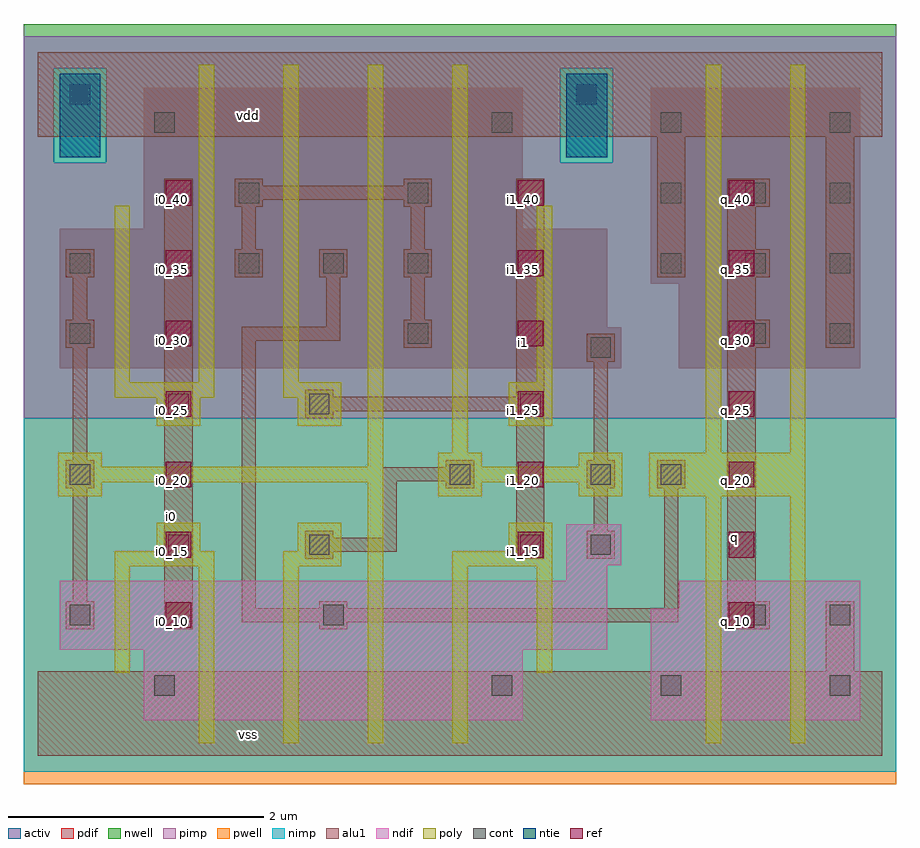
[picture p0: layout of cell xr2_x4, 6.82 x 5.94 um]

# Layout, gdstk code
import gdstk
lib = gdstk.Library(unit=1e-6, precision=2.5e-09)
def R(c, l, rs):  # rectangles x0, y0, x1, y1
    for r in rs: c.add(gdstk.rectangle(r[:2], r[2:], *l))
def A(c, l, x, y, w, h, nx, ny, dx, dy):  # array of equal rectangles
    R(c, l, [(x+i*dx, y+j*dy, x+i*dx+w, y+j*dy+h) for i in range(nx) for j in range(ny)])
ndif = (3, 0)
pdif = (4, 0)
ntie = (5, 0)
ref = (24, 0)
cont = (25, 0)
pwell = (41, 0)
nwell = (42, 0)
activ = (43, 0)
pimp = (44, 0)
nimp = (45, 0)
poly = (46, 0)
alu1 = (49, 0)

xr2_x4 = lib.new_cell('xr2_x4')
R(xr2_x4, ndif, [(0.83,0.28,3.79,0.83), (0.83,0.28,3.79,0.83), (4.79,0.28,6.43,1.15), (4.79,0.28,6.43,1.15), (0.17,0.83,4.45,1.37), (0.17,0.83,4.45,1.37), (5.01,1.15,6.43,1.37), (5.01,1.15,6.43,1.37), (4.13,1.37,4.45,1.49), (4.13,1.37,4.45,1.49), (4.13,1.49,4.56,1.81), (4.13,1.49,4.56,1.81)])
R(xr2_x4, pdif, [(0.17,3.03,4.56,3.35), (0.17,3.03,4.56,3.35), (5.01,3.03,6.43,3.69), (5.01,3.03,6.43,3.69), (0.17,3.35,4.45,4.12), (0.17,3.35,4.45,4.12), (4.79,3.69,6.43,5.22), (4.79,3.69,6.43,5.22), (0.83,4.12,3.79,5.22), (0.83,4.12,3.79,5.22)])
R(xr2_x4, ntie, [(0.17,4.68,0.49,5.33), (0.17,4.68,0.49,5.33), (4.13,4.68,4.45,5.33), (4.13,4.68,4.45,5.33)])
A(xr2_x4, ref, 1, 1, 0.2, 0.2, 1, 7, 0, 0.55)
A(xr2_x4, ref, 5.4, 1, 0.2, 0.2, 1, 7, 0, 0.55)
A(xr2_x4, ref, 3.75, 1.55, 0.2, 0.2, 1, 6, 0, 0.55)
A(xr2_x4, cont, 3.55, 0.47, 0.16, 0.16, 3, 2, 1.32, 4.4)
A(xr2_x4, cont, 0.25, 3.22, 0.16, 0.16, 3, 1, 2.64, 0)
A(xr2_x4, cont, 1.57, 3.77, 0.16, 0.16, 3, 1, 0.66, 0)
A(xr2_x4, cont, 4.87, 3.77, 0.16, 0.16, 3, 2, 0.66, 0.55)
R(xr2_x4, cont, [(0.91,0.47,1.07,0.63), (0.25,1.02,0.41,1.18), (2.23,1.02,2.39,1.18), (5.53,1.02,5.69,1.18), (6.19,1.02,6.35,1.18), (1.02,1.57,1.18,1.73), (2.12,1.57,2.28,1.73), (3.77,1.57,3.93,1.73), (4.32,1.57,4.48,1.73), (0.25,2.12,0.41,2.28), (3.22,2.12,3.38,2.28), (4.32,2.12,4.48,2.28), (4.87,2.12,5.03,2.28), (1.02,2.67,1.18,2.83), (2.12,2.67,2.28,2.83), (3.77,2.67,3.93,2.83), (4.32,3.11,4.48,3.27), (6.19,3.22,6.35,3.38), (0.25,3.77,0.41,3.93), (1.57,4.32,1.73,4.48), (2.89,4.32,3.05,4.48), (0.91,4.87,1.07,5.03), (0.25,5.09,0.41,5.25), (4.21,5.09,4.37,5.25)])
R(xr2_x4, pwell, [(-0.11,-0.22,6.71,2.64)])
R(xr2_x4, nwell, [(-0.11,2.64,6.71,5.72)])
R(xr2_x4, activ, [(0.83,0.28,3.79,0.83), (0.83,0.28,3.79,0.83), (4.79,0.28,6.43,1.15), (4.79,0.28,6.43,1.15), (0.17,0.83,4.45,1.37), (0.17,0.83,4.45,1.37), (5.01,1.15,6.43,1.37), (5.01,1.15,6.43,1.37), (4.13,1.37,4.45,1.49), (4.13,1.37,4.45,1.49), (4.13,1.49,4.56,1.81), (4.13,1.49,4.56,1.81), (0.17,3.03,4.56,3.35), (0.17,3.03,4.56,3.35), (5.01,3.03,6.43,3.69), (5.01,3.03,6.43,3.69), (0.17,3.35,4.45,4.12), (0.17,3.35,4.45,4.12), (4.79,3.69,6.43,5.22), (4.79,3.69,6.43,5.22), (0.83,4.12,3.79,5.22), (0.83,4.12,3.79,5.22), (0.17,4.68,0.49,5.33), (0.17,4.68,0.49,5.33), (4.13,4.68,4.45,5.33), (4.13,4.68,4.45,5.33)])
R(xr2_x4, pimp, [(-0.11,2.64,6.71,4.635), (-0.11,4.635,0.125,5.375), (0.535,4.635,4.085,5.375), (4.495,4.635,6.71,5.375), (-0.11,5.375,6.71,5.625)])
R(xr2_x4, nimp, [(-0.11,-0.125,6.71,2.64), (0.125,4.635,0.535,5.375), (4.085,4.635,4.495,5.375)])
R(xr2_x4, poly, [(1.26,0.1,1.38,1.48), (1.92,0.1,2.04,1.48), (2.58,0.1,2.7,2.14), (3.24,0.1,3.36,1.48), (5.22,0.1,5.34,2.03), (5.88,0.1,6,2.03), (0.6,0.65,0.72,1.48), (3.9,0.65,4.02,1.48), (0.6,1.48,1.38,1.6), (1.92,1.48,2.37,1.6), (3.24,1.48,4.02,1.6), (0.93,1.6,1.27,1.82), (2.03,1.6,2.37,1.82), (3.68,1.6,4.02,1.82), (0.16,2.03,0.5,2.14), (3.13,2.03,3.47,2.14), (4.23,2.03,4.57,2.14), (4.78,2.03,6,2.37), (0.16,2.14,2.7,2.26), (3.13,2.14,4.57,2.26), (0.16,2.26,0.5,2.37), (2.58,2.26,2.7,5.4), (3.13,2.26,3.47,2.37), (4.23,2.26,4.57,2.37), (3.24,2.37,3.36,5.4), (5.22,2.37,5.34,5.4), (5.88,2.37,6,5.4), (0.93,2.58,1.27,2.8), (2.03,2.58,2.37,2.8), (3.68,2.58,4.02,2.92), (0.6,2.8,1.38,2.92), (1.92,2.8,2.37,2.92), (0.6,2.92,0.72,4.3), (1.26,2.92,1.38,5.4), (1.92,2.92,2.04,5.4), (3.9,2.92,4.02,4.3)])
A(xr2_x4, alu1, 0.22, 0.99, 0.22, 0.22, 1, 3, 0, 1.1)
A(xr2_x4, alu1, 5.39, 3.19, 0.33, 0.22, 1, 3, 0, 0.55)
A(xr2_x4, alu1, 1.54, 3.74, 0.22, 0.22, 3, 1, 0.66, 0)
R(xr2_x4, alu1, [(0,0,6.6,0.66), (6.16,0.66,6.38,1.21), (0.99,0.99,1.21,4.51), (2.2,0.99,2.42,1.045), (5.39,0.99,5.72,1.21), (1.595,1.045,5.005,1.155), (1.595,1.155,1.705,3.245), (2.2,1.155,2.42,1.21), (4.895,1.155,5.005,2.09), (0.275,1.21,0.385,2.09), (5.39,1.21,5.61,3.19), (2.09,1.54,2.31,1.595), (3.74,1.54,3.96,2.695), (4.29,1.54,4.51,1.76), (2.09,1.595,2.805,1.705), (2.09,1.705,2.31,1.76), (2.695,1.705,2.805,2.145), (4.345,1.76,4.455,2.09), (3.19,2.09,3.41,2.145), (4.29,2.09,4.51,2.31), (4.84,2.09,5.06,2.31), (2.695,2.145,3.41,2.255), (3.19,2.255,3.41,2.31), (0.275,2.31,0.385,3.19), (4.345,2.31,4.455,3.08), (2.09,2.64,2.31,2.695), (2.09,2.695,3.96,2.805), (2.09,2.805,2.31,2.86), (3.74,2.805,3.96,4.51), (4.29,3.08,4.51,3.3), (2.86,3.19,3.08,3.41), (6.16,3.19,6.38,4.84), (1.595,3.245,2.365,3.355), (2.255,3.355,2.365,3.74), (0.275,3.41,0.385,3.74), (2.915,3.41,3.025,3.74), (5.39,3.41,5.61,3.74), (0.22,3.74,0.44,3.96), (4.84,3.74,5.06,4.84), (1.595,3.96,1.705,4.29), (2.915,3.96,3.025,4.29), (5.39,3.96,5.61,4.29), (1.54,4.29,1.76,4.345), (2.86,4.29,3.08,4.345), (1.54,4.345,3.08,4.455), (1.54,4.455,1.76,4.51), (2.86,4.455,3.08,4.51), (0,4.84,6.6,5.5)])
xr2_x4.add(gdstk.Label('vss', (1.65,0.165), layer=49, texttype=0))
xr2_x4.add(gdstk.Label('q', (5.445,1.705), layer=49, texttype=0))
xr2_x4.add(gdstk.Label('i1', (3.795,3.23), layer=49, texttype=0))
xr2_x4.add(gdstk.Label('i0', (1.045,1.87), layer=49, texttype=0))
xr2_x4.add(gdstk.Label('vdd', (1.65,5.005), layer=49, texttype=0))
xr2_x4.add(gdstk.Label('q_40', (5.45,4.35), layer=24, texttype=0))
xr2_x4.add(gdstk.Label('q_10', (5.45,1.05), layer=24, texttype=0))
xr2_x4.add(gdstk.Label('q_30', (5.45,3.25), layer=24, texttype=0))
xr2_x4.add(gdstk.Label('q_35', (5.45,3.8), layer=24, texttype=0))
xr2_x4.add(gdstk.Label('q_25', (5.45,2.7), layer=24, texttype=0))
xr2_x4.add(gdstk.Label('q_20', (5.45,2.15), layer=24, texttype=0))
xr2_x4.add(gdstk.Label('q_15', (5.45,1.6), layer=24, texttype=0))
xr2_x4.add(gdstk.Label('i1_40', (3.8,4.35), layer=24, texttype=0))
xr2_x4.add(gdstk.Label('i1_35', (3.8,3.8), layer=24, texttype=0))
xr2_x4.add(gdstk.Label('i1_30', (3.8,3.25), layer=24, texttype=0))
xr2_x4.add(gdstk.Label('i1_25', (3.8,2.7), layer=24, texttype=0))
xr2_x4.add(gdstk.Label('i1_20', (3.8,2.15), layer=24, texttype=0))
xr2_x4.add(gdstk.Label('i1_15', (3.8,1.6), layer=24, texttype=0))
xr2_x4.add(gdstk.Label('i0_40', (1.05,4.35), layer=24, texttype=0))
xr2_x4.add(gdstk.Label('i0_35', (1.05,3.8), layer=24, texttype=0))
xr2_x4.add(gdstk.Label('i0_30', (1.05,3.25), layer=24, texttype=0))
xr2_x4.add(gdstk.Label('i0_20', (1.05,2.15), layer=24, texttype=0))
xr2_x4.add(gdstk.Label('i0_25', (1.05,2.7), layer=24, texttype=0))
xr2_x4.add(gdstk.Label('i0_15', (1.05,1.6), layer=24, texttype=0))
xr2_x4.add(gdstk.Label('i0_10', (1.05,1.05), layer=24, texttype=0))

lib.write_gds('xr2_x4.gds')
